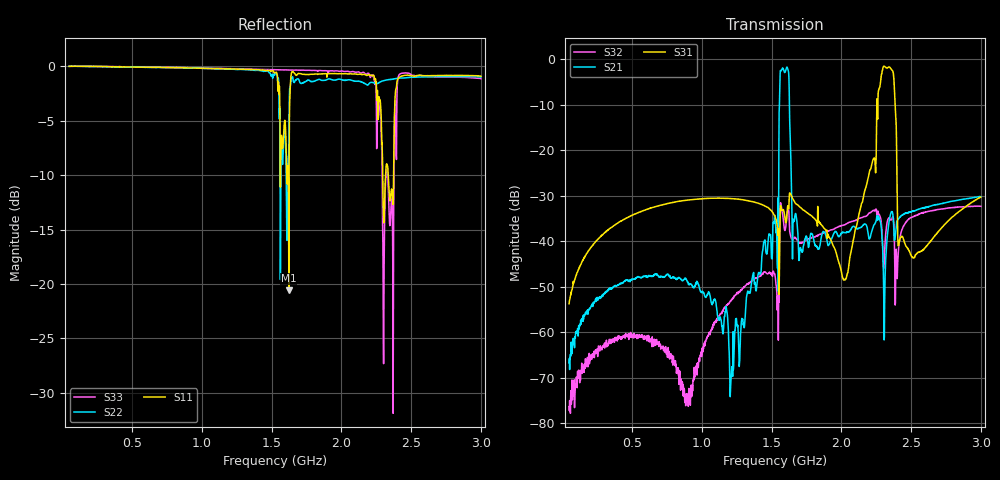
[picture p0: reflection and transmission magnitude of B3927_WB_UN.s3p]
! Matrix data file written by TouchstoneData, EPCOS AG
! FILENAME: "B3927_WB_UN.s3p"
! COMMENT: "unmatched wideband"
! INFO: nport=3, nfreq=1601
! DATE: "Thu Jul 12 14:02:13 2012"
! USER: "Daniel Harbusch"
! port | pin | signal
!  1  |  2  |  Input
!  2  |  4  |  GPS/GLONASS Output
!  3  |  6  |  SDARS Output
# MHZ S MA R 50
! freq  magS11 angS11  magS12 angS12  magS13 angS13  ...
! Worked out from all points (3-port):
!   1601 points, 50 MHz to 3 GHz, reference 50 ohm
!   strongest paths, dB at 50 MHz, 787.5 MHz, 1.525 GHz, 2.263 GHz, 3 GHz:
!     S31: -53.8, -31.5, -34.6, -9.0, -30.3
!     S21: -66.8, -48.0, -34.9, -35.0, -30.2
!     S32: -76.4, -66.3, -47.5, -33.4, -32.3
!   lowest |S11| = -20.6 dB at 1.625 GHz (marker M1), VSWR 1.21, Z = 53.4 + j9.1 ohm
!   |S11| at or under -10 dB: 1.608936 GHz to 1.614401 GHz (5.465 MHz wide, 0.339 % of centre); 2.297 GHz to 2.317 GHz (20.53 MHz wide, 0.89 % of centre); 2.336 GHz to 2.375 GHz (38.22 MHz wide, 1.62 % of centre) (the widest 3 of 5)
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50  0.9975 -3.8  0.0005653 75.7  0.002069 87.6
    0.0004581 98.8  0.998 -3.0  0.0001058 80.8
    0.002046 86.9  0.0001514 115.7  0.9988 -2.1
758  0.9844 -54.7  0.004223 40.4  0.02589 46.6
     0.004343 41.2  0.983 -45.0  0.0005345 67.2
     0.02593 46.6  0.000596 65.8  0.9876 -32.2
1215.25  0.97 -85.4  0.0003721 88.9  0.02924 22.0
         0.0004161 97.6  0.9693 -73.7  0.002258 -160.3
         0.0293 22.0  0.002304 -159.1  0.9728 -52.4
1525  0.9317 -120.4  0.01792 147.4  0.01862 0.7
      0.01791 147.4  0.9263 -125.5  0.004238 173.5
      0.01866 0.7  0.004212 173.4  0.9626 -68.2
1624.562  0.09354 64.5  0.6377 167.2  0.02445 50.2
          0.6379 167.2  0.4528 15.2  0.0208 -128.7
          0.02445 50.2  0.02085 -128.7  0.9591 -73.3
1709.375  0.9236 -99.1  0.008417 177.4  0.02326 6.9
          0.008415 177.4  0.8338 -73.3  0.009617 -167.6
          0.02329 7.1  0.009576 -167.8  0.9574 -78.1
2030.188  0.923 -124.8  0.01242 145.7  0.003769 75.2
          0.01238 145.7  0.8593 -99.2  0.0153 171.2
          0.003771 74.8  0.01531 170.9  0.9452 -99.5
2314.125  0.2864 -129.3  0.004253 -159.7  0.8228 -11.6
          0.004242 -159.5  0.8609 -110.3  0.00989 172.4
          0.8239 -11.5  0.009829 172.3  0.2623 -98.2
2419.219  0.8918 -103.4  0.01834 155.0  0.01046 -170.3
          0.01829 155.0  0.8821 -115.9  0.01062 -174.0
          0.01048 -170.2  0.01065 -174.0  0.9199 -43.7
3000  0.8989 -148.1  0.03081 120.8  0.0306 118.0
      0.03081 120.9  0.8902 -144.3  0.02415 138.1
      0.0305 118.0  0.02413 138.1  0.875 -120.6
